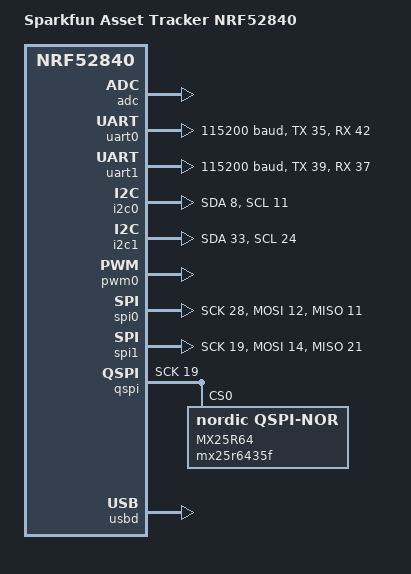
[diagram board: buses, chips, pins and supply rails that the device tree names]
/*
 * Copyright (c) 2020 u-blox AG
 *
 * SPDX-License-Identifier: Apache-2.0
 */

/* This is the most basic of definition files, simply
 * good enough to run the ubxlib tests on a board.
 */

/dts-v1/;
#include <nordic/nrf52840_qiaa.dtsi> /* should be ckaa, but not available yet  */

/ {
	model = "Sparkfun Asset Tracker NRF52840";
	compatible = "nordic,sparkfun_asset_tracker_nrf52840";

	chosen {
		zephyr,sram = &sram0;
		zephyr,flash = &flash0;
		zephyr,code-partition = &slot0_partition;
	};
};

&adc {
	status = "okay";
};

&gpiote {
	status = "okay";
};

&gpio0 {
	status = "okay";
};

&gpio1 {
	status = "okay";
};

&uart0 {
	compatible = "nordic,nrf-uart";
	status = "okay";
	current-speed = <115200>;
	tx-pin = <35>;
	rx-pin = <42>;
	rts-pin = <41>;
	cts-pin = <34>;
	hw-flow-control;
};

&uart1 {
	compatible = "nordic,nrf-uart";
	status = "okay";
	current-speed = <115200>;
	rx-pin = <37>;
	tx-pin = <39>;
	/delete-property/ rts-pin; 
	/delete-property/ cts-pin; 
};

&i2c0 {
	compatible = "nordic,nrf-twi";
	status = "okay";
	sda-pin = <8>;
	scl-pin = <11>;
};

&i2c1 {
	compatible = "nordic,nrf-twi";
	/* Cannot be used together with spi1. */
	/* status = "okay"; */
	sda-pin = <33>;
	scl-pin = <24>;
};

&pwm0 {
	status = "okay";
	ch0-pin = <6>;
	ch0-inverted;
};

&spi0 {
	compatible = "nordic,nrf-spi";
	/* Cannot be used together with i2c0. */
	/* status = "okay"; */
	sck-pin = <28>;
	mosi-pin = <12>;
	miso-pin = <11>;
};

&spi1 {
	compatible = "nordic,nrf-spi";
	status = "okay";
	sck-pin = <19>;
	mosi-pin = <14>;
	miso-pin = <21>;
};

&qspi {
	status = "okay";
	sck-pin = <19>;
	io-pins = <20>, <21>, <22>, <23>;
	csn-pins = <17>;
	mx25r64: mx25r6435f@0 {
		compatible = "nordic,qspi-nor";
		reg = <0>;
		writeoc = "pp4io";
		readoc = "read4io";
		sck-frequency = <8000000>;
		label = "MX25R64";
		jedec-id = [c2 28 17];
		sfdp-bfp = [
			e5 20 f1 ff  ff ff ff 03  44 eb 08 6b  08 3b 04 bb
			ee ff ff ff  ff ff 00 ff  ff ff 00 ff  0c 20 0f 52
			10 d8 00 ff  23 72 f5 00  82 ed 04 cc  44 83 68 44
			30 b0 30 b0  f7 c4 d5 5c  00 be 29 ff  f0 d0 ff ff
		];
		size = <67108864>;
		has-dpd;
		t-enter-dpd = <10000>;
		t-exit-dpd = <35000>;
	};
};

&flash0 {
	/*
	 * For more information, see:
	 * https://docs.zephyrproject.org/latest/guides/dts/legacy-macros.html#legacy-flash-partitions
	 */
	partitions {
		compatible = "fixed-partitions";
		#address-cells = <1>;
		#size-cells = <1>;

		boot_partition: partition@0 {
			label = "mcuboot";
			reg = <0x000000000 0x0000C000>;
		};
		slot0_partition: partition@c000 {
			label = "image-0";
			reg = <0x0000C000 0x00067000>;
		};
		slot1_partition: partition@73000 {
			label = "image-1";
			reg = <0x00073000 0x00067000>;
		};
		scratch_partition: partition@da000 {
			label = "image-scratch";
			reg = <0x000da000 0x0001e000>;
		};

		/*
		 * The flash starting at 0x000f8000 and ending at
		 * 0x000fffff is reserved for use by the application.
		 */

		/*
		 * Storage partition will be used by FCB/LittleFS/NVS
		 * if enabled.
		 */
		storage_partition: partition@f8000 {
			label = "storage";
			reg = <0x000f8000 0x00008000>;
		};
	};
};

&usbd {
	compatible = "nordic,nrf-usbd";
	status = "okay";
};
